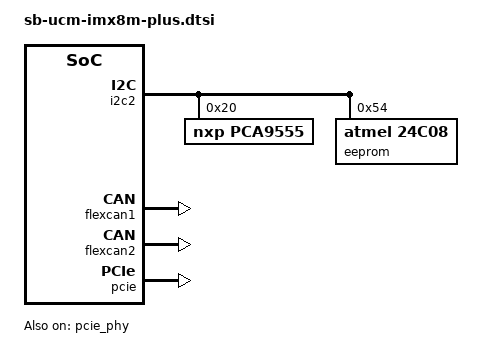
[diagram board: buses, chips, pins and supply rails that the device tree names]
&iomuxc {
	pinctrl_csi_mclk: csi_mclk_grp {
		fsl,pins = <
			MX8MP_IOMUXC_GPIO1_IO15__CCM_CLKO2	0x59
		>;
	};
};

&i2c2 {
	wm8731: wm8731@1a {
		#sound-dai-cells = <0>;
		compatible = "wlf,wm8731";
		reg = <0x1a>;
		clocks = <&audio_blk_ctrl IMX8MP_CLK_AUDIO_BLK_CTRL_SAI3_MCLK1>;
		clock-names = "mclk";
		wlf,shared-lrclk;
		status = "disabled";
	};

	pca9555:pca9555@20 {
		compatible = "nxp,pca9555";
		gpio-controller;
		#gpio-cells = <2>;
		reg = <0x20>;
	};

	eeprom@54 {
		compatible = "atmel,24c08";
		reg = <0x54>;
		pagesize = <16>;
	};
};

&flexcan1 {
	status = "okay";
};

&flexcan2 {
	status = "okay";
};

&pcie {
	status = "okay";
};

&pcie_phy {
	status = "okay";
};
